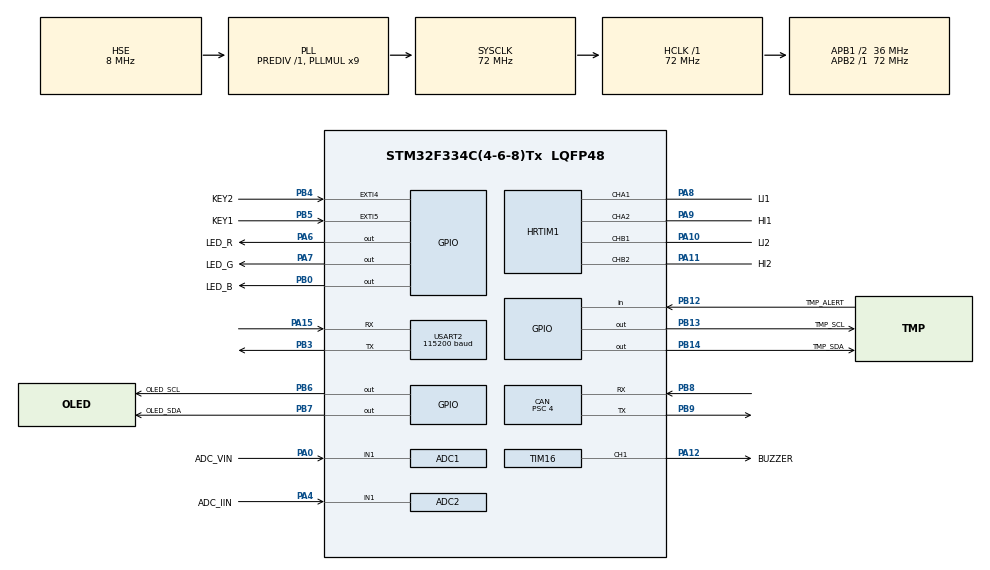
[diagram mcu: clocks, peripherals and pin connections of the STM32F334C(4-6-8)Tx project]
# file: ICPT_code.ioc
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ADC1.Channel-0\#ChannelRegularConversion=ADC_CHANNEL_1
ADC1.NbrOfConversionFlag=1
ADC1.Offset-0\#ChannelRegularConversion=0
ADC1.OffsetNumber-0\#ChannelRegularConversion=ADC_OFFSET_NONE
ADC1.Rank-0\#ChannelRegularConversion=1
ADC1.SamplingTime-0\#ChannelRegularConversion=ADC_SAMPLETIME_1CYCLE_5
ADC1.SubFamily=STM32F334x8
ADC1.master=1
ADC2.Channel-0\#ChannelRegularConversion=ADC_CHANNEL_1
ADC2.NbrOfConversionFlag=1
ADC2.Offset-0\#ChannelRegularConversion=0
ADC2.OffsetNumber-0\#ChannelRegularConversion=ADC_OFFSET_NONE
ADC2.Rank-0\#ChannelRegularConversion=1
ADC2.SamplingTime-0\#ChannelRegularConversion=ADC_SAMPLETIME_1CYCLE_5
ADC2.SamplingTimeOPAMP-0\#ChannelRegularConversion=ADC_SAMPLETIME_4CYCLES_5
ADC2.SubFamily=STM32F334x8
CAN.ABOM=ENABLE
CAN.BS1=CAN_BS1_4TQ
CAN.BS2=CAN_BS2_4TQ
CAN.CalculateBaudRate=1000000
CAN.CalculateTimeBit=1000
CAN.CalculateTimeQuantum=111.11111111111111
CAN.NART=ENABLE
CAN.Prescaler=4
Dma.ADC1.1.Direction=DMA_PERIPH_TO_MEMORY
Dma.ADC1.1.Instance=DMA1_Channel1
Dma.ADC1.1.MemDataAlignment=DMA_MDATAALIGN_HALFWORD
Dma.ADC1.1.MemInc=DMA_MINC_ENABLE
Dma.ADC1.1.Mode=DMA_CIRCULAR
Dma.ADC1.1.PeriphDataAlignment=DMA_PDATAALIGN_HALFWORD
Dma.ADC1.1.PeriphInc=DMA_PINC_DISABLE
Dma.ADC1.1.Priority=DMA_PRIORITY_LOW
Dma.ADC2.0.Direction=DMA_PERIPH_TO_MEMORY
Dma.ADC2.0.Instance=DMA1_Channel2
Dma.ADC2.0.MemDataAlignment=DMA_MDATAALIGN_HALFWORD
Dma.ADC2.0.MemInc=DMA_MINC_ENABLE
Dma.ADC2.0.Mode=DMA_CIRCULAR
Dma.ADC2.0.PeriphDataAlignment=DMA_PDATAALIGN_HALFWORD
Dma.ADC2.0.PeriphInc=DMA_PINC_DISABLE
Dma.ADC2.0.Priority=DMA_PRIORITY_LOW
Dma.Request0=ADC2
Dma.Request1=ADC1
HRTIM1.CompareUnit1-MasterTimer=HRTIM_COMPAREUNIT_1
HRTIM1.CompareUnit1-Output_TA1TA2=HRTIM_COMPAREUNIT_1
HRTIM1.CompareUnit1-Output_TB1TB2=__NULL
HRTIM1.CompareUnit2-MasterTimer=HRTIM_COMPAREUNIT_2
HRTIM1.CompareUnit2-Output_TB1TB2=HRTIM_COMPAREUNIT_2
HRTIM1.CompareUnit3-MasterTimer=HRTIM_COMPAREUNIT_3
HRTIM1.CompareUnit3-Output_TA1TA2=HRTIM_COMPAREUNIT_3
HRTIM1.CompareUnit3-Output_TB1TB2=__NULL
HRTIM1.CompareUnit4-MasterTimer=HRTIM_COMPAREUNIT_4
HRTIM1.CompareUnit4-Output_TB1TB2=HRTIM_COMPAREUNIT_4
HRTIM1.CompareValue1-MasterTimer=90
HRTIM1.CompareValue1-Output_TA1TA2=180
HRTIM1.CompareValue2-MasterTimer=2263
HRTIM1.CompareValue2-Output_TB1TB2=4527
HRTIM1.CompareValue3-MasterTimer=2618
HRTIM1.CompareValue3-Output_TA1TA2=5236
HRTIM1.CompareValue4-MasterTimer=4791
HRTIM1.CompareValue4-Output_TB1TB2=9583
HRTIM1.DeadTimeInsertion-Output_TA1TA2=HRTIM_TIMDEADTIMEINSERTION_ENABLED
HRTIM1.DeadTimeInsertion-Output_TB1TB2=HRTIM_TIMDEADTIMEINSERTION_ENABLED
HRTIM1.FallingValue-Output_TA1TA2=180
HRTIM1.FallingValue-Output_TB1TB2=180
HRTIM1.InterruptRequests1-Output_TA1TA2=HRTIM_TIM_IT_REP
HRTIM1.NumberInterruptRequests-Output_TA1TA2=1
HRTIM1.NumberInterruptRequests-Output_TB1TB2=0
HRTIM1.NumberResetSource1-Output_TA1TA2=1
HRTIM1.NumberResetSource1-Output_TB1TB2=1
HRTIM1.NumberSetSource1-Output_TA1TA2=1
HRTIM1.NumberSetSource1-Output_TB1TB2=1
HRTIM1.Periode_MASTER=5236
HRTIM1.Periode_TA=5236
HRTIM1.Periode_TB=5236
HRTIM1.PreloadEnable-Output_TA1TA2=HRTIM_PRELOAD_ENABLED
HRTIM1.PreloadEnable-Output_TB1TB2=HRTIM_PRELOAD_ENABLED
HRTIM1.PrescalerRatio_MASTER=HRTIM_PRESCALERRATIO_MUL4
HRTIM1.PrescalerRatio_TA=HRTIM_PRESCALERRATIO_MUL4
HRTIM1.PrescalerRatio_TB=HRTIM_PRESCALERRATIO_MUL4
HRTIM1.RepetitionCounter-Output_TA1TA2=1
HRTIM1.RepetitionUpdate-Output_TA1TA2=HRTIM_UPDATEONREPETITION_ENABLED
HRTIM1.RepetitionUpdate-Output_TB1TB2=HRTIM_UPDATEONREPETITION_ENABLED
HRTIM1.ResetOutput1_Source1-Output_TA1TA2=HRTIM_OUTPUTRESET_MASTERCMP3
HRTIM1.ResetOutput1_Source1-Output_TB1TB2=HRTIM_OUTPUTRESET_MASTERCMP4
HRTIM1.RisingValue-Output_TA1TA2=180
HRTIM1.RisingValue-Output_TB1TB2=180
HRTIM1.SetOutput1_Source1-Output_TA1TA2=HRTIM_OUTPUTSET_MASTERCMP1
HRTIM1.SetOutput1_Source1-Output_TB1TB2=HRTIM_OUTPUTSET_MASTERCMP2
Mcu.Family=STM32F3
Mcu.Name=STM32F334C(4-6-8)Tx
Mcu.Package=LQFP48
NVIC.CAN_RX0_IRQn=true\:0\:0\:false\:false\:true\:true\:true\:true
NVIC.CAN_RX1_IRQn=true\:0\:0\:false\:false\:true\:true\:true\:true
NVIC.DMA1_Channel1_IRQn=true\:0\:0\:false\:false\:true\:false\:true\:true
NVIC.DMA1_Channel2_IRQn=true\:0\:0\:false\:false\:true\:false\:true\:true
NVIC.EXTI4_IRQn=true\:0\:0\:false\:false\:true\:true\:true\:true
NVIC.EXTI9_5_IRQn=true\:0\:0\:false\:false\:true\:true\:true\:true
NVIC.HRTIM1_TIMA_IRQn=true\:0\:0\:false\:false\:true\:true\:true\:true
NVIC.PriorityGroup=NVIC_PRIORITYGROUP_4
NVIC.TIM6_DAC1_IRQn=true\:0\:0\:false\:false\:true\:true\:true\:true
NVIC.USART2_IRQn=true\:0\:0\:false\:false\:true\:true\:true\:true
PA0.GPIO_Label=ADC_VIN
PA0.Mode=IN1-Single-Ended
PA0.Signal=ADC1_IN1
PA10.GPIO_Label=LI2
PA10.Mode=Output_TB1TB2
PA10.Signal=HRTIM1_CHB1
PA11.GPIO_Label=HI2
PA11.Mode=Output_TB1TB2
PA11.Signal=HRTIM1_CHB2
PA12.GPIO_Label=BUZZER
PA12.Signal=S_TIM16_CH1
PA13.Mode=Serial_Wire
PA13.Signal=SYS_JTMS-SWDIO
PA14.Mode=Serial_Wire
PA14.Signal=SYS_JTCK-SWCLK
PA15.Mode=Asynchronous
PA15.Signal=USART2_RX
PA4.GPIO_Label=ADC_IIN
PA4.Mode=IN1-Single-Ended
PA4.Signal=ADC2_IN1
PA6.GPIO_Label=LED_R
PA6.Signal=GPIO_Output
PA7.GPIO_Label=LED_G
PA7.Signal=GPIO_Output
PA8.GPIO_Label=LI1
PA8.Mode=Output_TA1TA2
PA8.Signal=HRTIM1_CHA1
PA9.GPIO_Label=HI1
PA9.Mode=Output_TA1TA2
PA9.Signal=HRTIM1_CHA2
PB0.GPIO_Label=LED_B
PB0.Signal=GPIO_Output
PB12.GPIO_Label=TMP_ALERT
PB12.Signal=GPIO_Input
PB13.GPIO_Label=TMP_SCL
PB13.GPIO_ModeDefaultOutputPP=GPIO_MODE_OUTPUT_OD
PB13.GPIO_PuPd=GPIO_NOPULL
PB13.Signal=GPIO_Output
PB14.GPIO_Label=TMP_SDA
PB14.GPIO_ModeDefaultOutputPP=GPIO_MODE_OUTPUT_OD
PB14.GPIO_PuPd=GPIO_NOPULL
PB14.Signal=GPIO_Output
PB3.Mode=Asynchronous
PB3.Signal=USART2_TX
PB4.GPIO_Label=KEY2
PB4.Signal=GPXTI4
PB5.GPIO_Label=KEY1
PB5.Signal=GPXTI5
PB6.GPIO_Label=OLED_SCL
PB6.Signal=GPIO_Output
PB7.GPIO_Label=OLED_SDA
PB7.Signal=GPIO_Output
PB8.Mode=CAN_Activate
PB8.Signal=CAN_RX
PB9.Mode=CAN_Activate
PB9.Signal=CAN_TX
PF0\ /\ OSC_IN.Mode=HSE-External-Clock-Source
PF0\ /\ OSC_IN.Signal=RCC_OSC_IN
ProjectManager.HeapSize=0x200
ProjectManager.StackSize=0x400
ProjectManager.TargetToolchain=MDK-ARM V5.32
RCC.AHBFreq_Value=72000000
RCC.APB1CLKDivider=RCC_HCLK_DIV2
RCC.APB1Freq_Value=36000000
RCC.APB1TimFreq_Value=72000000
RCC.APB2Freq_Value=72000000
RCC.APB2TimFreq_Value=72000000
RCC.CortexFreq_Value=72000000
RCC.HCLKFreq_Value=72000000
RCC.HRTIMSelection=RCC_HRTIM1CLK_PLLCLK
RCC.HSE_VALUE=8000000
RCC.HSI_VALUE=8000000
RCC.LSE_VALUE=32768
RCC.PLLMUL=RCC_PLL_MUL9
RCC.PLLSourceVirtual=RCC_PLLSOURCE_HSE
RCC.SYSCLKFreq_VALUE=72000000
RCC.SYSCLKSourceVirtual=RCC_SYSCLKSOURCE_PLLCLK
SH.S_TIM16_CH1.0=TIM16_CH1,PWM Generation1 CH1
TIM16.Channel=TIM_CHANNEL_1
TIM16.Period=5000-1
TIM16.Prescaler=72-1
TIM16.Pulse=2500
TIM6.AutoReloadPreload=TIM_AUTORELOAD_PRELOAD_ENABLE
TIM6.Period=10000-1
TIM6.Prescaler=72-1
USART2.BaudRate=115200
USART2.VirtualMode-Asynchronous=VM_ASYNC
VP_HRTIM1_VS_hrtimMasterTimerNoOutput.Mode=MasterTimer
VP_TIM16_VS_ClockSourceINT.Mode=Enable_Timer
VP_TIM6_VS_ClockSourceINT.Mode=Enable_Timer
board=custom

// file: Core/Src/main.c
/* USER CODE BEGIN Header */
/**
  ******************************************************************************
  * @file           : main.c
  * @brief          : Main program body
  ******************************************************************************
  * @attention
  *
  * Copyright (c) 2025 STMicroelectronics.
  * All rights reserved.
  *
  * This software is licensed under terms that can be found in the LICENSE file
  * in the root directory of this software component.
  * If no LICENSE file comes with this software, it is provided AS-IS.
  *
  ******************************************************************************
  */
/* USER CODE END Header */
#include "main.h"
#include "adc.h"
#include "can.h"
#include "dma.h"
#include "hrtim.h"
#include "tim.h"
#include "usart.h"
#include "gpio.h"

/* USER CODE BEGIN Includes */
#include "oled.h"
#include "sample.h"
#include "connect.h"
#include "mathfun.h"
#include "temp.h"
/* USER CODE END Includes */

/* USER CODE BEGIN PV */
// 显示值
static float Vin, Iin;
// 串口接收逆变控制信号
uint8_t order_hrtim;
/* USER CODE END PV */

void SystemClock_Config(void);

int main(void)
{

  /* MCU Configuration--------------------------------------------------------*/

  /* Reset of all peripherals, Initializes the Flash interface and the Systick. */
  HAL_Init();

  /* Configure the system clock */
  SystemClock_Config();

  /* Initialize all configured peripherals */
  MX_GPIO_Init();
  MX_DMA_Init();
  MX_ADC1_Init();
  MX_ADC2_Init();
  MX_CAN_Init();
  MX_HRTIM1_Init();
  MX_TIM16_Init();
  MX_USART2_UART_Init();
  MX_TIM6_Init();
  /* USER CODE BEGIN 2 */
  LED_R(1);
  LED_G(1);
  LED_B(1);
  // 初始化 OLED
  OLED_Init();
  OLED_ShowString(1, 2, "Loading...");
  // 初始化温度传感器
  TMP_Init();
  TMP_Alert_Config(80, 75);
  // HAL_TIM_Base_Start_IT(&TMP_TIM);
  // 初始化 ADC
  Init_ADC_Data();
  Init_ADC();
  // 初始化 HRTIM
	HAL_HRTIM_WaveformCountStart(&hhrtim1, HRTIM_TIMERID_MASTER);
  HAL_HRTIM_WaveformCountStart(&hhrtim1, HRTIM_TIMERID_TIMER_A); // 开启 PWM 计时器
  HAL_HRTIM_WaveformCountStart(&hhrtim1, HRTIM_TIMERID_TIMER_B);
  INVERT_OFF; // 初始关闭逆变电路输出
  __HAL_HRTIM_TIMER_ENABLE_IT(&hhrtim1, HRTIM_TIMERINDEX_TIMER_A, HRTIM_TIM_IT_REP); // 使能 REP 中断
  // 开启 USART 接收
  HAL_UART_Receive_IT(&huart2, &order_hrtim, 1);
  // CAN 接收配置
  CAN_Receive_Config();
  HAL_Delay(500);

  OLED_Clear();
  LED_R(0);
  LED_B(0);
  /* USER CODE END 2 */

  /* Infinite loop */
  /* USER CODE BEGIN WHILE */
  while (1)
  {
    Vin = VIN.now_value;
    Iin = IIN.now_value;

    OLED_ShowString(2, 1, "Vin:");
    OLED_ShowChar(2, 5, Vin >= 0 ? ' ' : '-');
    OLED_ShowNum(2, 6, Floor(abs(Vin)), 1);
    OLED_ShowChar(2, 7, '.');
    OLED_ShowNum(2, 8, Mod1(abs(Vin)), 2);

    OLED_ShowString(3, 1, "Iin:");
    OLED_ShowChar(3, 5, Iin >= 0 ? ' ' : '-');
    OLED_ShowNum(3, 6, Floor(abs(Iin)), 1);
    OLED_ShowChar(3, 7, '.');
    OLED_ShowNum(3, 8, Mod1(abs(Iin)), 2);
    /* USER CODE END WHILE */

  }
}

void SystemClock_Config(void)
{
  RCC_OscInitTypeDef RCC_OscInitStruct = {0};
  RCC_ClkInitTypeDef RCC_ClkInitStruct = {0};
  RCC_PeriphCLKInitTypeDef PeriphClkInit = {0};

  /** Initializes the RCC Oscillators according to the specified parameters
  * in the RCC_OscInitTypeDef structure.
  */
  RCC_OscInitStruct.OscillatorType = RCC_OSCILLATORTYPE_HSE;
  RCC_OscInitStruct.HSEState = RCC_HSE_BYPASS;
  RCC_OscInitStruct.HSEPredivValue = RCC_HSE_PREDIV_DIV1;
  RCC_OscInitStruct.HSIState = RCC_HSI_ON;
  RCC_OscInitStruct.PLL.PLLState = RCC_PLL_ON;
  RCC_OscInitStruct.PLL.PLLSource = RCC_PLLSOURCE_HSE;
  RCC_OscInitStruct.PLL.PLLMUL = RCC_PLL_MUL9;
  if (HAL_RCC_OscConfig(&RCC_OscInitStruct) != HAL_OK)
  {
    Error_Handler();
  }

  /** Initializes the CPU, AHB and APB buses clocks
  */
  RCC_ClkInitStruct.ClockType = RCC_CLOCKTYPE_HCLK|RCC_CLOCKTYPE_SYSCLK
                              |RCC_CLOCKTYPE_PCLK1|RCC_CLOCKTYPE_PCLK2;
  RCC_ClkInitStruct.SYSCLKSource = RCC_SYSCLKSOURCE_PLLCLK;
  RCC_ClkInitStruct.AHBCLKDivider = RCC_SYSCLK_DIV1;
  RCC_ClkInitStruct.APB1CLKDivider = RCC_HCLK_DIV2;
  RCC_ClkInitStruct.APB2CLKDivider = RCC_HCLK_DIV1;

  if (HAL_RCC_ClockConfig(&RCC_ClkInitStruct, FLASH_LATENCY_2) != HAL_OK)
  {
    Error_Handler();
  }
  PeriphClkInit.PeriphClockSelection = RCC_PERIPHCLK_HRTIM1|RCC_PERIPHCLK_ADC12;
  PeriphClkInit.Adc12ClockSelection = RCC_ADC12PLLCLK_DIV1;
  PeriphClkInit.Hrtim1ClockSelection = RCC_HRTIM1CLK_PLLCLK;
  if (HAL_RCCEx_PeriphCLKConfig(&PeriphClkInit) != HAL_OK)
  {
    Error_Handler();
  }
}

void Error_Handler(void)
{
  __disable_irq();
  while (1)
  {
  }
}
